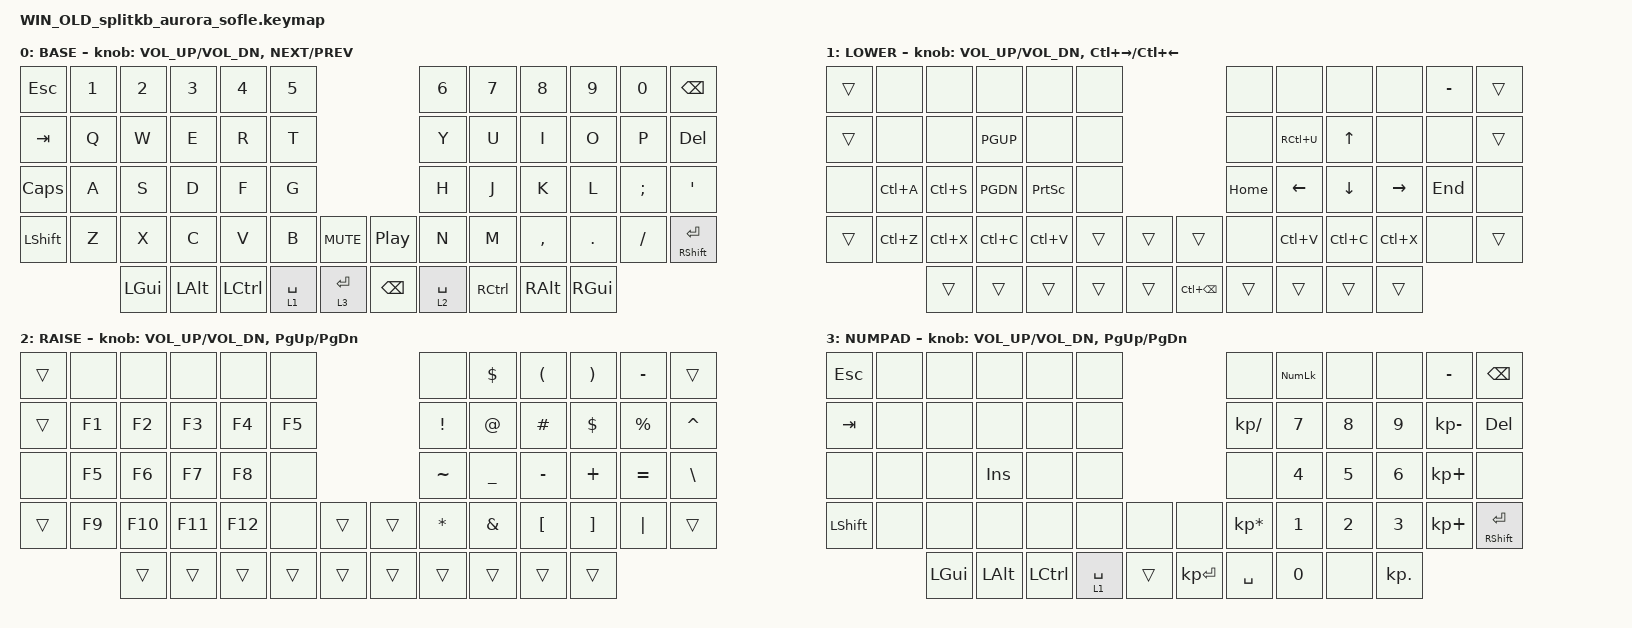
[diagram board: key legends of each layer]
// ============================================================
//  splitkb Aurora Sofle v2 — ZMK Keymap
//  Board:  splitkb Aurora Sofle (left + right)
//  Layers: 0 BASE  1 LOWER  2 RAISE  3 NUMPAD
//  No RGB
// ============================================================


#include <behaviors.dtsi>
#include <dt-bindings/zmk/bt.h>
#include <dt-bindings/zmk/ext_power.h>
#include <dt-bindings/zmk/keys.h>
#include <dt-bindings/zmk/outputs.h>

// ── Layer indices ────────────────────────────────────────────
#define BASE  0
#define LOWER   1
#define RAISE   2
#define NUMPAD 	3

// ── Convenience aliases ──────────────────────────────────────
#define XXXXXXX &none
#define _______ &trans
#define TILDESC &mt TILDE ESC
#define SHFTENT &mt RSHFT RETURN
#define SPCLOW  &lt 1 SPACE
#define ENTNUM	&lt 3 RETURN
#define SPCRSE  &lt 2 SPACE

/ {
    // ── Combos ──────────────────────────────────────────────
    combos {
        compatible = "zmk,combos";

        // Press both encoder buttons together to toggle ZMK Studio unlock
        combo_studio_unlock {
            timeout-ms = <50>;
            key-positions = <52 57>;   // left-enc + right-enc
            bindings = <&studio_unlock>;
        };
    };

    // ── Behaviors ───────────────────────────────────────────
    behaviors {
        rot_kp: sensor_rotate_kp {
            compatible = "zmk,behavior-sensor-rotate-var";
            #sensor-binding-cells = <2>;
            bindings = <&kp>, <&kp>;
        };
    };

    // ── Keymap ──────────────────────────────────────────────
    keymap {
        compatible = "zmk,keymap";

        // ── Layer 0 — BASE ────────────────────────────────
        // ┌─────┬─────┬─────┬─────┬─────┬─────┐                ┌─────┬─────┬─────┬─────┬─────┬─────┐
        // │ ESC │  1  │  2  │  3  │  4  │  5  │                │  6  │  7  │  8  │  9  │  0  │BSPC │
        // ├─────┼─────┼─────┼─────┼─────┼─────┤                ├─────┼─────┼─────┼─────┼─────┼─────┤
        // │ TAB │  Q  │  W  │  E  │  R  │  T  │                │  Y  │  U  │  I  │  O  │  P  │ DEL │
        // ├─────┼─────┼─────┼─────┼─────┼─────┤                ├─────┼─────┼─────┼─────┼─────┼─────┤
        // │CAPS │  A  │  S  │  D  │  F  │  G  │                │  H  │  J  │  K  │  L  │  ;  │  '  │
        // ├─────┼─────┼─────┼─────┼─────┼─────┼─────┐    ┌─────┼─────┼─────┼─────┼─────┼─────┼─────┤
        // │SHFT │  Z  │  X  │  C  │  V  │  B  │MUTE │    │PLAY │  N  │  M  │  ,  │  .  │  /  │S/RET│
        // └─────┴─────┼─────┼─────┼─────┼─────┼─────┤    ├─────┼─────┼─────┼─────┼─────┼─────┴─────┘
        //             │ GUI │ ALT │CTRL │SPC/L│RET/N│    │BSPC │SPC/R│CTRL │ ALT │ GUI │
        //             └─────┴─────┴─────┴─────┴─────┘    └─────┴─────┴─────┴─────┴─────┘
        qwerty_layer {
            display-name = "BASE";
            bindings = <
                &kp ESC   &kp N1 &kp N2   &kp N3   &kp N4    &kp N5                        &kp N6  &kp N7    &kp N8    &kp N9   &kp N0   &kp BSPC
				&kp TAB   &kp Q  &kp W    &kp E    &kp R     &kp T                         &kp Y   &kp U     &kp I     &kp O    &kp P    &kp DEL
				&kp CAPS  &kp A  &kp S    &kp D    &kp F     &kp G                         &kp H   &kp J     &kp K     &kp L    &kp SEMI &kp SQT
				&kp LSHFT &kp Z	 &kp X    &kp C    &kp V  	 &kp B	 &kp C_MUTE	  &kp C_PP &kp N   &kp M     &kp COMMA &kp DOT  &kp FSLH SHFTENT
								 &kp LGUI &kp LALT &kp LCTRL SPCLOW  ENTNUM   	  &kp BSPC SPCRSE  &kp RCTRL &kp RALT  &kp RGUI
            >;
            sensor-bindings = <&inc_dec_kp C_VOL_UP C_VOL_DN &inc_dec_kp C_NEXT C_PREV>;
        };

        // ── Layer 1 — LOWER  (shortcuts, navigation) ─────────────
        // ┌─────┬─────┬─────┬─────┬─────┬─────┐                ┌─────┬─────┬─────┬─────┬─────┬─────┐
        // │ ESC │     │     │     │     │     │                │     │     │     │     │  -  │BSPC │
        // ├─────┼─────┼─────┼─────┼─────┼─────┤                ├─────┼─────┼─────┼─────┼─────┼─────┤
        // │ TAB │     │     │PGUP │     │     │                │     │CTR+U│  UP │     │     │ DEL │
        // ├─────┼─────┼─────┼─────┼─────┼─────┤                ├─────┼─────┼─────┼─────┼─────┼─────┤
        // │     │ ALL │SAVE │PGDN │PRNT │     │                │HOME │LEFT │DOWN │RIGHT│ END │     │
        // ├─────┼─────┼─────┼─────┼─────┼─────┼─────┐    ┌─────┼─────┼─────┼─────┼─────┼─────┼─────┤
        // │SHFT │UNDO │ CUT │COPY │PASTE│     │MUTE │    │PLAY │     │PASTE│COPY │ CUT │     │S/RET│
        // └─────┴─────┼─────┼─────┼─────┼─────┼─────┤    ├─────┼─────┼─────┼─────┼─────┼─────┴─────┘
        //             │ GUI │ ALT │CTRL │     │RET/N│    │CBSPC│SPC/R│CTRL │ ALT │ GUI │
        //             └─────┴─────┴─────┴─────┴─────┘    └─────┴─────┴─────┴─────┴─────┘
        lower_layer {
            display-name = "LOWER";
            bindings = <
				&trans    &none     &none     &none     &none      &none                   		  &none       &none      &none     &none      &kp MINUS  &trans
				&trans    &none     &none     &kp PGUP  &none      &none                   		  &none       &kp RC(U)  &kp UP    &none      &none      &trans
				&none     &kp LC(A) &kp LC(S) &kp PGDN  &kp PSCRN  &none		           		  &kp HOME    &kp LEFT   &kp DOWN  &kp RIGHT  &kp END    &none
				&trans    &kp LC(Z) &kp LC(X) &kp LC(C) &kp LC(V)  &trans	&trans	&trans  	  &none       &kp LC(V)  &kp LC(C) &kp LC(X)  &none      &trans
									&trans    &trans    &trans     &trans	&trans	&kp LC(BSPC)  &trans      &trans     &trans    &trans
            >;
             sensor-bindings = <&inc_dec_kp C_VOL_UP C_VOL_DN &inc_dec_kp LC(RIGHT) LC(LEFT)>;
        };

        // ── Layer 2 — RAISE  (function keys, symbols) ──────────
		// ┌─────┬─────┬─────┬─────┬─────┬─────┐                ┌─────┬─────┬─────┬─────┬─────┬─────┐
        // │ ESC │     │     │     │     │     │                │     │  $  │  (  │  )  │  -  │BSPC │
        // ├─────┼─────┼─────┼─────┼─────┼─────┤                ├─────┼─────┼─────┼─────┼─────┼─────┤
        // │ TAB │ F1  │ F2  │ F3  │ F4  │ F5  │                │  !  │  @  │  #  │  $  │  %  │  ^  │
        // ├─────┼─────┼─────┼─────┼─────┼─────┤                ├─────┼─────┼─────┼─────┼─────┼─────┤
        // │     │ F5  │ F6  │ F7  │ F8  │     │                │  ~  │  _  │  -  │  +  │  =  │  \  │
        // ├─────┼─────┼─────┼─────┼─────┼─────┼─────┐    ┌─────┼─────┼─────┼─────┼─────┼─────┼─────┤
        // │SHFT │ F9  │ F10 │ F11 │ F12 │     │MUTE │    │PLAY │  *  │  &  │  [  │  ]  │  |  │S/RET│
        // └─────┴─────┼─────┼─────┼─────┼─────┼─────┤    ├─────┼─────┼─────┼─────┼─────┼─────┴─────┘
        //             │ GUI │ ALT │CTRL │SPC/L│RET/N│    │BSPC │     │CTRL │ ALT │ GUI │
        //             └─────┴─────┴─────┴─────┴─────┘    └─────┴─────┴─────┴─────┴─────┘
        raise_layer {
            display-name = "RAISE";
             bindings = <
				&trans   &none   &none   &none   &none   &none                        &none     &kp DLLR   &kp LPAR   &kp RPAR   &kp MINUS  &trans
				&trans   &kp F1  &kp F2  &kp F3  &kp F4  &kp F5                       &kp EXCL  &kp AT     &kp HASH   &kp DLLR   &kp PRCNT  &kp CARET
				&none    &kp F5  &kp F6  &kp F7  &kp F8  &none                        &kp TILDE &kp UNDER  &kp MINUS  &kp PLUS   &kp EQUAL  &kp BSLH
				&trans   &kp F9  &kp F10 &kp F11 &kp F12 &none     &trans   &trans    &kp ASTRK &kp AMPS   &kp LBKT   &kp RBKT   &kp PIPE   &trans
								 &trans  &trans  &trans  &trans    &trans   &trans    &trans    &trans     &trans     &trans
            >;

            sensor-bindings = <&inc_dec_kp C_VOL_UP C_VOL_DN &inc_dec_kp PG_UP PG_DN>;
        };
		
		// ── Layer 3 — NUMPAD (Numpad) ───────────
		// ┌─────┬─────┬─────┬─────┬─────┬─────┐                ┌─────┬─────┬─────┬─────┬─────┬─────┐
        // │ ESC │     │     │     │     │     │                │     │NUMLK│     │     │  -  │BSPC │
        // ├─────┼─────┼─────┼─────┼─────┼─────┤                ├─────┼─────┼─────┼─────┼─────┼─────┤
        // │ TAB │     │     │     │     │     │                │  /  │  7  │  8  │  9  │  -  │ DEL │
        // ├─────┼─────┼─────┼─────┼─────┼─────┤                ├─────┼─────┼─────┼─────┼─────┼─────┤
        // │     │     │     │     │INSRT│     │                │     │  4  │  5  │  6  │  +  │     │
        // ├─────┼─────┼─────┼─────┼─────┼─────┼─────┐    ┌─────┼─────┼─────┼─────┼─────┼─────┼─────┤
        // │SHFT │     │     │     │     │     │MUTE │    │PLAY │  *  │  1  │  2  │  3  │  +  │S/RET│
        // └─────┴─────┼─────┼─────┼─────┼─────┼─────┤    ├─────┼─────┼─────┼─────┼─────┼─────┴─────┘
        //             │ GUI │ ALT │CTRL │SPC/L│     │    │RET  │SPC  │  0  │     │  .  │
        //             └─────┴─────┴─────┴─────┴─────┘    └─────┴─────┴─────┴─────┴─────┘
        numpad_layer {
			display-name = "NUMPAD";
            bindings = <
				&kp ESC		&none	&none	 &none	  &none	    &none						&none			&kp KP_NUM &none	&none	&kp MINUS		&kp BSPC
				&kp TAB		&none	&none	 &none	  &none	    &none						&kp KP_DIVIDE	&kp N7	   &kp N8	&kp N9	&kp KP_MINUS	&kp DEL
				&none		&none	&none	 &kp INS  &none	    &none						&none			&kp N4	   &kp N5	&kp N6	&kp KP_PLUS		&none
				&kp LSHFT	&none	&none	 &none	  &none	    &none	&none		&none	&kp KP_MULTIPLY	&kp N1	   &kp N2	&kp N3	&kp KP_PLUS		SHFTENT
									&kp LGUI &kp LALT &kp LCTRL SPCLOW	&trans   	&kp KP_ENTER &kp SPACE  &kp N0	   &none    &kp KP_DOT
            >;
            sensor-bindings = <&inc_dec_kp C_VOL_UP C_VOL_DN &inc_dec_kp PG_UP PG_DN>;
        };
    };
};
